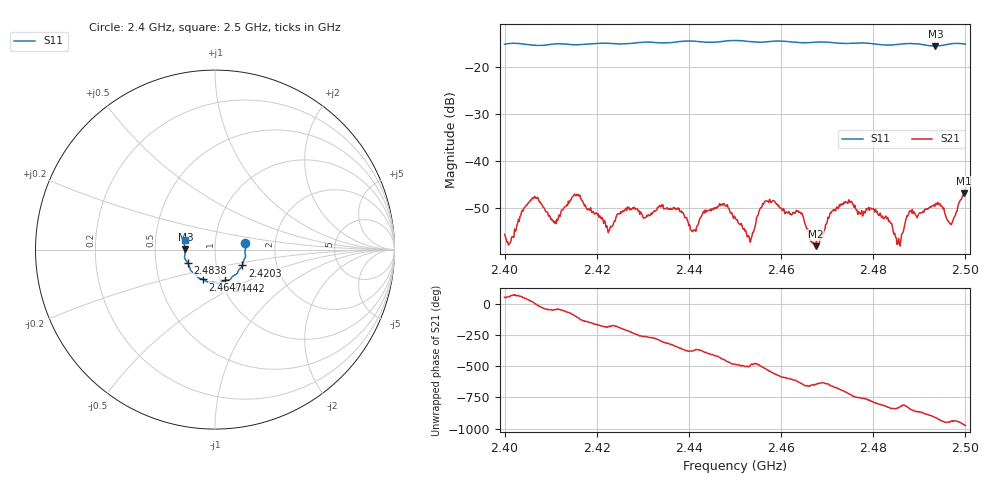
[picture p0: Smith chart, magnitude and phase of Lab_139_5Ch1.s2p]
# Hz S RI R 50
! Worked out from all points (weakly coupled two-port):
!   601 points, 2.4 GHz to 2.5 GHz, reference 50 ohm
!   highest |S21| = -46.86 dB at 2.4997 GHz (marker M1); lowest = -58.2 dB at 2.4675 GHz (marker M2)
!   lowest |S11| = -15.6 dB at 2.4935 GHz (marker M3), VSWR 1.40, Z = 35.8 + j0.0932 ohm
!   |S11| at or under -10 dB: start of sweep to end of sweep
!   S12 and S22 are empty: the file has one direction only
!   S11 on the Smith chart (normalised r, x): 2.4 GHz: 1.40, +0.11; 2.4203 GHz: 1.34, -0.24; 2.4442 GHz: 1.06, -0.37; 2.4647 GHz: 0.83, -0.29; 2.4838 GHz: 0.73, -0.11; 2.5 GHz: 0.71, +0.08
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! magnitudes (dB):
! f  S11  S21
! 2.4 GHz  -15.2  -55.7
! 2.4062 GHz  -15.4  -48.0
! 2.4108 GHz  -15.2  -53.3
! 2.4167 GHz  -15.3  -48.4
! 2.4203 GHz  -15.1  -51.3
! 2.4333 GHz  -14.9  -50.0
! 2.441 GHz  -14.6  -54.8
! 2.4442 GHz  -14.8  -50.6
! 2.45 GHz  -14.4  -52.0
! 2.4532 GHz  -14.7  -56.8
! 2.457 GHz  -14.7  -48.6
! 2.4647 GHz  -14.9  -51.5
! 2.4667 GHz  -14.9  -57.3
! 2.4675 GHz  -14.8  -58.2
! 2.4742 GHz  -15.1  -48.9
! 2.4833 GHz  -15.4  -52.9
! 2.4838 GHz  -15.4  -53.4
! 2.4855 GHz  -15.3  -56.6
! 2.4935 GHz  -15.6  -49.3
! 2.4968 GHz  -15.1  -53.6
! 2.4997 GHz  -15.2  -46.9
! 2.5 GHz  -15.2  -47.1
